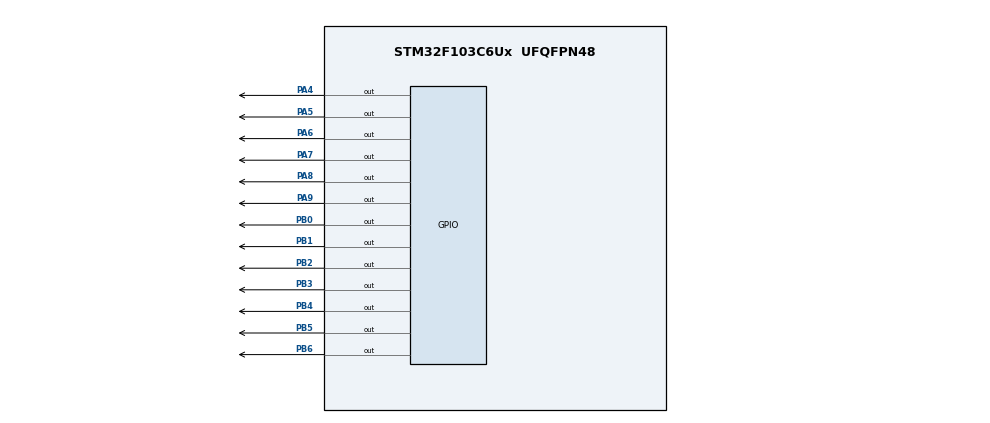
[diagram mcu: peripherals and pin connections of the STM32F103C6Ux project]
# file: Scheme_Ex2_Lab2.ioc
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Mcu.Family=STM32F1
Mcu.Name=STM32F103C6Ux
Mcu.Package=UFQFPN48
NVIC.PriorityGroup=NVIC_PRIORITYGROUP_4
NVIC.TIM2_IRQn=true\:0\:0\:false\:false\:true\:true\:true
PA13.Mode=Serial_Wire
PA13.Signal=SYS_JTMS-SWDIO
PA14.Mode=Serial_Wire
PA14.Signal=SYS_JTCK-SWCLK
PA4.Signal=GPIO_Output
PA5.Signal=GPIO_Output
PA6.Signal=GPIO_Output
PA7.Signal=GPIO_Output
PA8.Signal=GPIO_Output
PA9.Signal=GPIO_Output
PB0.Signal=GPIO_Output
PB1.Signal=GPIO_Output
PB2.Signal=GPIO_Output
PB3.Signal=GPIO_Output
PB4.Signal=GPIO_Output
PB5.Signal=GPIO_Output
PB6.Signal=GPIO_Output
ProjectManager.HeapSize=0x200
ProjectManager.StackSize=0x400
ProjectManager.TargetToolchain=STM32CubeIDE
RCC.APB1Freq_Value=8000000
RCC.APB2Freq_Value=8000000
TIM2.Period=9
TIM2.Prescaler=7999
VP_TIM2_VS_ClockSourceINT.Mode=Internal
board=custom

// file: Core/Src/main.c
/* USER CODE BEGIN Header */
/**
  ******************************************************************************
  * @file           : main.c
  * @brief          : Main program body
  ******************************************************************************
  * @attention
  *
  * <h2><center>&copy; Copyright (c) 2026 STMicroelectronics.
  * All rights reserved.</center></h2>
  *
  * This software component is licensed by ST under BSD 3-Clause license,
  * the "License"; You may not use this file except in compliance with the
  * License. You may obtain a copy of the License at:
  *                        opensource.org/licenses/BSD-3-Clause
  *
  ******************************************************************************
  */
/* USER CODE END Header */
#include "main.h"

TIM_HandleTypeDef htim2;

void SystemClock_Config(void);
static void MX_GPIO_Init(void);
static void MX_TIM2_Init(void);

/* USER CODE BEGIN 0 */
static const uint8_t seg_code[10] = {
    0b1000000, // 0: a,b,c,d,e,f
    0b1111001, // 1: b,c
    0b0100100, // 2: a,b,d,e,g
    0b0110000, // 3: a,b,c,d,g
    0b0011001, // 4: b,c,f,g
    0b0010010, // 5: a,c,d,f,g
    0b0000010, // 6: a,c,d,e,f,g
    0b1111000, // 7: a,b,c
    0b0000000, // 8: a,b,c,d,e,f,g
    0b0010000  // 9: a,b,c,d,f,g
};

void display7SEG(int num)
{
    if (num < 0 || num > 9) return;
    uint8_t code = seg_code[num];
    HAL_GPIO_WritePin(GPIOB, GPIO_PIN_0, (code & 0x01) ? GPIO_PIN_SET : GPIO_PIN_RESET);
    HAL_GPIO_WritePin(GPIOB, GPIO_PIN_1, (code & 0x02) ? GPIO_PIN_SET : GPIO_PIN_RESET);
    HAL_GPIO_WritePin(GPIOB, GPIO_PIN_2, (code & 0x04) ? GPIO_PIN_SET : GPIO_PIN_RESET);
    HAL_GPIO_WritePin(GPIOB, GPIO_PIN_3, (code & 0x08) ? GPIO_PIN_SET : GPIO_PIN_RESET);
    HAL_GPIO_WritePin(GPIOB, GPIO_PIN_4, (code & 0x10) ? GPIO_PIN_SET : GPIO_PIN_RESET);
    HAL_GPIO_WritePin(GPIOB, GPIO_PIN_5, (code & 0x20) ? GPIO_PIN_SET : GPIO_PIN_RESET);
    HAL_GPIO_WritePin(GPIOB, GPIO_PIN_6, (code & 0x40) ? GPIO_PIN_SET : GPIO_PIN_RESET);
}
/* USER CODE END 0 */

int main(void)
{

  /* MCU Configuration--------------------------------------------------------*/

  /* Reset of all peripherals, Initializes the Flash interface and the Systick. */
  HAL_Init();

  /* Configure the system clock */
  SystemClock_Config();

  /* Initialize all configured peripherals */
  MX_GPIO_Init();
  MX_TIM2_Init();
  /* USER CODE BEGIN 2 */
  HAL_TIM_Base_Start_IT(&htim2);
  /* USER CODE END 2 */

  /* Infinite loop */
  while (1)
  {

  }
}

void SystemClock_Config(void)
{
  RCC_OscInitTypeDef RCC_OscInitStruct = {0};
  RCC_ClkInitTypeDef RCC_ClkInitStruct = {0};

  /** Initializes the RCC Oscillators according to the specified parameters
  * in the RCC_OscInitTypeDef structure.
  */
  RCC_OscInitStruct.OscillatorType = RCC_OSCILLATORTYPE_HSI;
  RCC_OscInitStruct.HSIState = RCC_HSI_ON;
  RCC_OscInitStruct.HSICalibrationValue = RCC_HSICALIBRATION_DEFAULT;
  RCC_OscInitStruct.PLL.PLLState = RCC_PLL_NONE;
  if (HAL_RCC_OscConfig(&RCC_OscInitStruct) != HAL_OK)
  {
    Error_Handler();
  }
  /** Initializes the CPU, AHB and APB buses clocks
  */
  RCC_ClkInitStruct.ClockType = RCC_CLOCKTYPE_HCLK|RCC_CLOCKTYPE_SYSCLK
                              |RCC_CLOCKTYPE_PCLK1|RCC_CLOCKTYPE_PCLK2;
  RCC_ClkInitStruct.SYSCLKSource = RCC_SYSCLKSOURCE_HSI;
  RCC_ClkInitStruct.AHBCLKDivider = RCC_SYSCLK_DIV1;
  RCC_ClkInitStruct.APB1CLKDivider = RCC_HCLK_DIV1;
  RCC_ClkInitStruct.APB2CLKDivider = RCC_HCLK_DIV1;

  if (HAL_RCC_ClockConfig(&RCC_ClkInitStruct, FLASH_LATENCY_0) != HAL_OK)
  {
    Error_Handler();
  }
}

static void MX_TIM2_Init(void)
{

  TIM_ClockConfigTypeDef sClockSourceConfig = {0};
  TIM_MasterConfigTypeDef sMasterConfig = {0};

  htim2.Instance = TIM2;
  htim2.Init.Prescaler = 7999;
  htim2.Init.CounterMode = TIM_COUNTERMODE_UP;
  htim2.Init.Period = 9;
  htim2.Init.ClockDivision = TIM_CLOCKDIVISION_DIV1;
  htim2.Init.AutoReloadPreload = TIM_AUTORELOAD_PRELOAD_DISABLE;
  if (HAL_TIM_Base_Init(&htim2) != HAL_OK)
  {
    Error_Handler();
  }
  sClockSourceConfig.ClockSource = TIM_CLOCKSOURCE_INTERNAL;
  if (HAL_TIM_ConfigClockSource(&htim2, &sClockSourceConfig) != HAL_OK)
  {
    Error_Handler();
  }
  sMasterConfig.MasterOutputTrigger = TIM_TRGO_RESET;
  sMasterConfig.MasterSlaveMode = TIM_MASTERSLAVEMODE_DISABLE;
  if (HAL_TIMEx_MasterConfigSynchronization(&htim2, &sMasterConfig) != HAL_OK)
  {
    Error_Handler();
  }

}

static void MX_GPIO_Init(void)
{
  GPIO_InitTypeDef GPIO_InitStruct = {0};

  /* GPIO Ports Clock Enable */
  __HAL_RCC_GPIOA_CLK_ENABLE();
  __HAL_RCC_GPIOB_CLK_ENABLE();

  /*Configure GPIO pin Output Level */
  HAL_GPIO_WritePin(GPIOA, GPIO_PIN_4|GPIO_PIN_5|GPIO_PIN_6|GPIO_PIN_7
                          |GPIO_PIN_8|GPIO_PIN_9, GPIO_PIN_SET);

  /*Configure GPIO pin Output Level */
  HAL_GPIO_WritePin(GPIOB, GPIO_PIN_0|GPIO_PIN_1|GPIO_PIN_2|GPIO_PIN_3
                          |GPIO_PIN_4|GPIO_PIN_5|GPIO_PIN_6, GPIO_PIN_SET);

  /*Configure GPIO pins : PA4 PA5 PA6 PA7
                           PA8 PA9 */
  GPIO_InitStruct.Pin = GPIO_PIN_4|GPIO_PIN_5|GPIO_PIN_6|GPIO_PIN_7
                          |GPIO_PIN_8|GPIO_PIN_9;
  GPIO_InitStruct.Mode = GPIO_MODE_OUTPUT_PP;
  GPIO_InitStruct.Pull = GPIO_NOPULL;
  GPIO_InitStruct.Speed = GPIO_SPEED_FREQ_LOW;
  HAL_GPIO_Init(GPIOA, &GPIO_InitStruct);

  /*Configure GPIO pins : PB0 PB1 PB2 PB3
                           PB4 PB5 PB6 */
  GPIO_InitStruct.Pin = GPIO_PIN_0|GPIO_PIN_1|GPIO_PIN_2|GPIO_PIN_3
                          |GPIO_PIN_4|GPIO_PIN_5|GPIO_PIN_6;
  GPIO_InitStruct.Mode = GPIO_MODE_OUTPUT_PP;
  GPIO_InitStruct.Pull = GPIO_NOPULL;
  GPIO_InitStruct.Speed = GPIO_SPEED_FREQ_LOW;
  HAL_GPIO_Init(GPIOB, &GPIO_InitStruct);

}

/* USER CODE BEGIN 4 */
int led_counter = 50;
int dot_counter = 100;
int led_index = 0;

void HAL_TIM_PeriodElapsedCallback(TIM_HandleTypeDef *htim) {
	if (htim->Instance == TIM2) {
		dot_counter--;
		if (dot_counter <= 0) {
			dot_counter = 100;
			HAL_GPIO_TogglePin(GPIOA, GPIO_PIN_4);
		}
		led_counter--;
		if (led_counter <= 0) {
			led_counter = 50;

			//Tat het 4 led
			HAL_GPIO_WritePin(GPIOA, GPIO_PIN_6 | GPIO_PIN_7 | GPIO_PIN_8 | GPIO_PIN_9, GPIO_PIN_SET);

			switch(led_index) {
			case 0:
				display7SEG(1);
				HAL_GPIO_WritePin(GPIOA, GPIO_PIN_6, GPIO_PIN_RESET);
				led_index = 1;
				break;
			case 1:
				display7SEG(2);
				HAL_GPIO_WritePin(GPIOA, GPIO_PIN_7 , GPIO_PIN_RESET);
				led_index = 2;
				break;
			case 2:
				display7SEG(3);
				HAL_GPIO_WritePin(GPIOA, GPIO_PIN_8, GPIO_PIN_RESET);
				led_index = 3;
				break;
			case 3:
				display7SEG(0);
				HAL_GPIO_WritePin(GPIOA, GPIO_PIN_9, GPIO_PIN_RESET);
				led_index = 0;
				break;
			default:
				led_index = 0;
				break;
			}
			HAL_GPIO_TogglePin(GPIOA, GPIO_PIN_5);
		}
	}
}
/* USER CODE END 4 */

void Error_Handler(void)
{
  __disable_irq();
  while (1)
  {
  }
}

/************************ (C) COPYRIGHT STMicroelectronics *****END OF FILE****/
